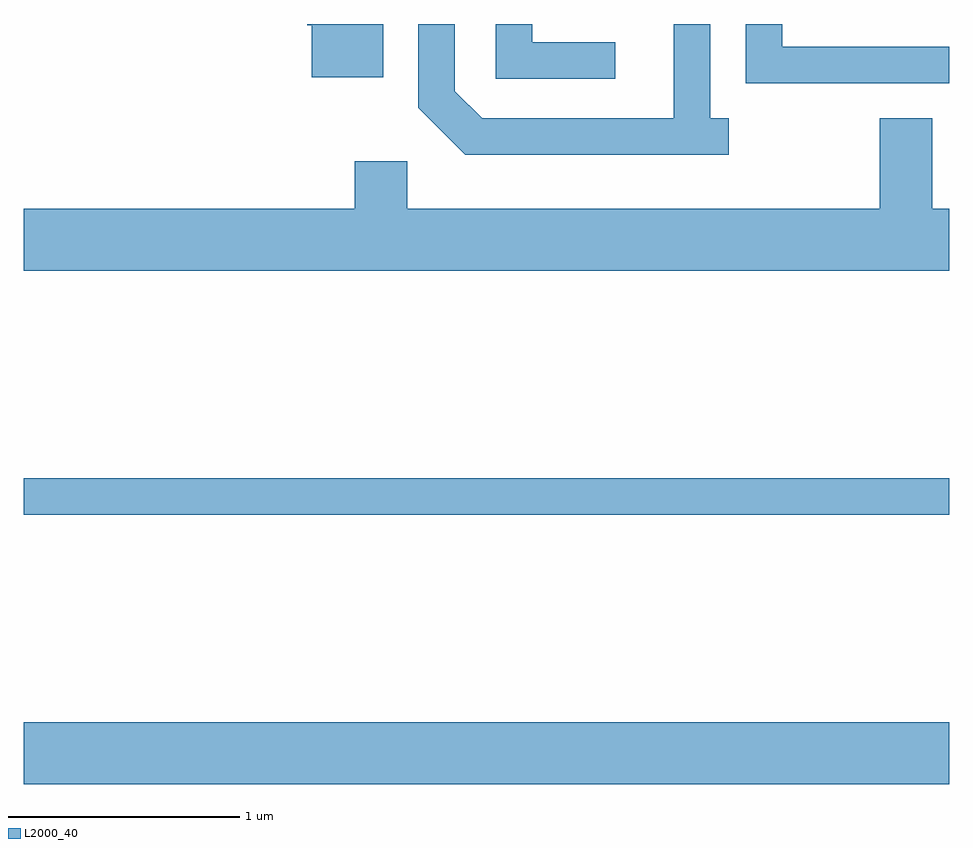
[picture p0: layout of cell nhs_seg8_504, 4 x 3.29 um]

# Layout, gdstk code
import gdstk
lib = gdstk.Library(unit=1e-6, precision=1e-09)
def R(c, l, rs):  # rectangles x0, y0, x1, y1
    for r in rs: c.add(gdstk.rectangle(r[:2], r[2:], *l))
def P(c, l, *ps):  # polygons
    for p in ps: c.add(gdstk.Polygon(p, *l))
L2000_40 = (2000, 40)

nhs_seg8_504 = lib.new_cell('nhs_seg8_504')
R(nhs_seg8_504, L2000_40, [(199.611,1863.056,203.611,1863.324), (199.611,1864.221,203.611,1864.379)])
P(nhs_seg8_504, L2000_40, [(202.658,1865.934),(202.579,1865.934),(202.579,1866.342),(202.421,1866.342),(202.421,1865.934),(201.592,1865.934),(201.474,1866.052),(201.474,1866.342),(201.316,1866.342),(201.316,1865.979),(201.519,1865.776),(202.658,1865.776)],
  [(203.611,1866.244),(202.889,1866.244),(202.889,1866.342),(202.731,1866.342),(202.731,1866.086),(203.611,1866.086)],
  [(202.168,1866.264),(201.809,1866.264),(201.809,1866.342),(201.651,1866.342),(201.651,1866.106),(202.168,1866.106)],
  [(201.164,1866.342),(200.836,1866.342),(200.836,1866.336),(200.856,1866.336),(200.856,1866.111),(201.164,1866.111)],
  [(203.611,1865.544),(203.539,1865.544),(203.539,1865.934),(203.311,1865.934),(203.311,1865.544),(201.269,1865.544),(201.269,1865.749),(201.041,1865.749),(201.041,1865.544),(199.611,1865.544),(199.611,1865.276),(203.611,1865.276)])

lib.write_gds('nhs_seg8_504.gds')
